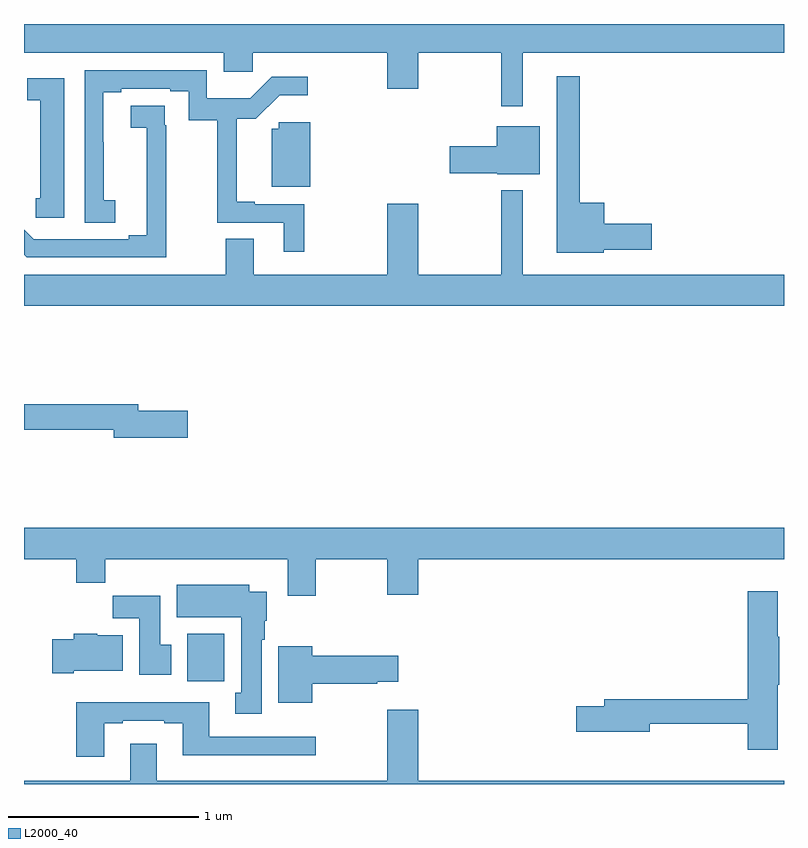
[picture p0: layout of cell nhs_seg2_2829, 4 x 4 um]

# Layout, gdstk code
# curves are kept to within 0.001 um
import gdstk
lib = gdstk.Library(unit=1e-6, precision=1e-09)
def R(c, l, rs):  # rectangles x0, y0, x1, y1
    for r in rs: c.add(gdstk.rectangle(r[:2], r[2:], *l))
def P(c, l, *ps):  # polygons
    for p in ps: c.add(gdstk.Polygon(p, *l))
L2000_40 = (2000, 40)

nhs_seg2_2829 = lib.new_cell('nhs_seg2_2829')
R(nhs_seg2_2829, L2000_40, [(259.859,632.34,260.055,632.59)])
P(nhs_seg2_2829, L2000_40, [(261.625,635.648),(263,635.648),(263,635.8),(259,635.8),(259,635.648),(260.051,635.648),(260.051,635.55),(260.203,635.55),(260.203,635.648),(260.912,635.648),(260.912,635.46),(261.076,635.46),(261.076,635.648),(261.511,635.648),(261.511,635.367),(261.625,635.367)],
  [(260.476,634.851),(260.215,634.851),(260.215,634.864),(260.12,634.864),(260.12,635.301),(260.219,635.301),(260.345,635.426),(260.494,635.426),(260.494,635.523),(260.304,635.523),(260.191,635.41),(259.962,635.41),(259.962,635.556),(259.32,635.556),(259.32,634.753),(259.48,634.753),(259.48,634.873),(259.419,634.873),(259.419,635.177),(259.417,635.177),(259.417,635.44),(259.513,635.44),(259.513,635.46),(259.769,635.46),(259.769,635.446),(259.866,635.446),(259.866,635.293),(260.017,635.293),(260.017,634.755),(260.366,634.755),(260.366,634.602),(260.476,634.602)],
  [(262.05,634.613),(262.303,634.613),(262.303,634.748),(262.054,634.748),(262.054,634.858),(261.925,634.858),(261.925,635.524),(261.803,635.524),(261.803,634.595),(262.05,634.595)],
  [(259.213,635.515),(259.017,635.515),(259.017,635.4),(259.085,635.4),(259.085,634.884),(259.063,634.884),(259.063,634.779),(259.213,634.779)],
  [(259.748,635.267),(259.742,635.267),(259.742,635.369),(259.563,635.369),(259.563,635.254),(259.645,635.254),(259.646,634.688),(259.55,634.688),(259.55,634.668),(259.05,634.668),(259,634.718),(259,634.586),(259.014,634.572),(259.748,634.572)],
  [(260.506,635.284),(260.34,635.284),(260.34,635.248),(260.303,635.248),(260.303,634.943),(260.506,634.943)],
  [(261.715,635.263),(261.488,635.263),(261.488,635.157),(261.24,635.157),(261.24,635.015),(261.492,635.015),(261.492,635.009),(261.715,635.009)],
  [(263,634.48),(261.625,634.48),(261.625,634.924),(261.511,634.924),(261.511,634.48),(261.076,634.48),(261.076,634.855),(260.912,634.855),(260.912,634.48),(260.209,634.48),(260.209,634.67),(260.062,634.67),(260.062,634.48),(259,634.48),(259,634.316),(263,634.316)],
  [(259.861,633.764),(259.6,633.764),(259.6,633.8),(259,633.8),(259,633.664),(259.472,633.664),(259.472,633.622),(259.861,633.622)],
  [(260.535,632.984),(260.912,632.984),(260.912,632.796),(261.076,632.796),(261.076,632.984),(263,632.984),(263,633.148),(259,633.148),(259,632.984),(259.276,632.984),(259.276,632.86),(259.427,632.86),(259.427,632.984),(260.387,632.984),(260.387,632.79),(260.535,632.79)],
  [(260.251,632.558),(260.266,632.558),(260.266,632.658),(260.278,632.658),(260.278,632.812),(260.185,632.812),(260.185,632.848),(259.805,632.848),(259.805,632.678),(260.144,632.678),(260.144,632.281),(260.111,632.281),(260.111,632.169),(260.251,632.169)],
  [(262.966,632.323),(262.974,632.323),(262.974,632.576),(262.966,632.576),(262.966,632.815),(262.808,632.815),(262.808,632.246),(262.055,632.246),(262.055,632.21),(261.906,632.21),(261.906,632.075),(262.294,632.075),(262.294,632.118),(262.808,632.118),(262.808,631.98),(262.966,631.98)],
  [(259.774,632.532),(259.717,632.532),(259.717,632.79),(259.468,632.79),(259.468,632.672),(259.607,632.672),(259.607,632.376),(259.774,632.376)],
  [(259.261,632.396),(259.519,632.396),(259.519,632.584),(259.386,632.584),(259.386,632.59),(259.261,632.59),(259.261,632.562),(259.149,632.562),(259.149,632.384),(259.261,632.384)],
  [(260.518,632.327),(260.858,632.327),(260.858,632.339),(260.971,632.339),(260.971,632.474),(260.518,632.474),(260.518,632.524),(260.339,632.524),(260.339,632.228),(260.518,632.228)],
  [(259.423,632.121),(259.519,632.121),(259.519,632.133),(259.739,632.133),(259.739,632.121),(259.835,632.121),(259.835,631.952),(260.536,631.952),(260.536,632.049),(259.975,632.049),(259.975,632.23),(259.276,632.23),(259.276,631.944),(259.423,631.944)],
  [(263,631.816),(261.076,631.816),(261.076,632.191),(260.912,632.191),(260.912,631.816),(259.699,631.816),(259.699,632.011),(259.559,632.011),(259.559,631.816),(259,631.816),(259,631.8),(263,631.8)])

lib.write_gds('nhs_seg2_2829.gds')
